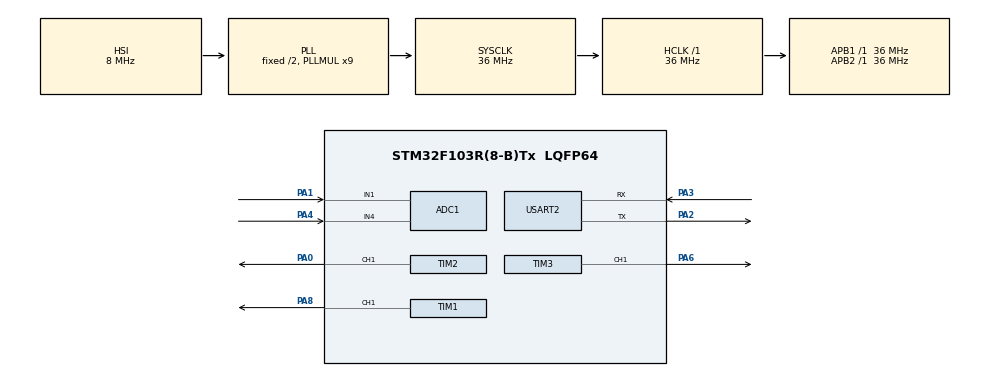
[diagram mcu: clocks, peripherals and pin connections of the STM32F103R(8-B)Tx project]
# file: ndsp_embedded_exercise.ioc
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ADC1.Channel-2\#ChannelRegularConversion=ADC_CHANNEL_1
ADC1.Channel-3\#ChannelRegularConversion=ADC_CHANNEL_4
ADC1.ContinuousConvMode=ENABLE
ADC1.NbrOfConversion=2
ADC1.NbrOfConversionFlag=1
ADC1.Rank-2\#ChannelRegularConversion=1
ADC1.Rank-3\#ChannelRegularConversion=2
ADC1.SamplingTime-2\#ChannelRegularConversion=ADC_SAMPLETIME_239CYCLES_5
ADC1.SamplingTime-3\#ChannelRegularConversion=ADC_SAMPLETIME_239CYCLES_5
ADC1.master=1
Dma.ADC1.0.Direction=DMA_PERIPH_TO_MEMORY
Dma.ADC1.0.Instance=DMA1_Channel1
Dma.ADC1.0.MemDataAlignment=DMA_MDATAALIGN_HALFWORD
Dma.ADC1.0.MemInc=DMA_MINC_ENABLE
Dma.ADC1.0.Mode=DMA_CIRCULAR
Dma.ADC1.0.PeriphDataAlignment=DMA_PDATAALIGN_HALFWORD
Dma.ADC1.0.PeriphInc=DMA_PINC_DISABLE
Dma.ADC1.0.Priority=DMA_PRIORITY_LOW
Dma.Request0=ADC1
Mcu.Family=STM32F1
Mcu.Name=STM32F103R(8-B)Tx
Mcu.Package=LQFP64
NVIC.ADC1_2_IRQn=true\:0\:0\:false\:false\:true\:true\:true\:true
NVIC.DMA1_Channel1_IRQn=true\:0\:0\:false\:false\:true\:false\:true\:true
NVIC.PriorityGroup=NVIC_PRIORITYGROUP_4
NVIC.TIM1_UP_IRQn=true\:0\:0\:false\:false\:true\:true\:true\:true
NVIC.TIM2_IRQn=true\:1\:0\:true\:false\:true\:true\:true\:true
NVIC.TIM3_IRQn=true\:1\:0\:true\:false\:true\:true\:true\:true
NVIC.USART2_IRQn=true\:0\:0\:false\:false\:true\:true\:true\:true
PA0-WKUP.Signal=S_TIM2_CH1_ETR
PA1.Signal=ADCx_IN1
PA2.Mode=Asynchronous
PA2.Signal=USART2_TX
PA3.Mode=Asynchronous
PA3.Signal=USART2_RX
PA4.Signal=ADCx_IN4
PA6.Signal=S_TIM3_CH1
PA8.Signal=S_TIM1_CH1
ProjectManager.HeapSize=0x200
ProjectManager.StackSize=0x400
ProjectManager.TargetToolchain=CMake
RCC.ADCPresc=RCC_ADCPCLK2_DIV8
RCC.AHBFreq_Value=36000000
RCC.APB1Freq_Value=36000000
RCC.APB1TimFreq_Value=36000000
RCC.APB2Freq_Value=36000000
RCC.APB2TimFreq_Value=36000000
RCC.HCLKFreq_Value=36000000
RCC.PLLMUL=RCC_PLL_MUL9
RCC.SYSCLKFreq_VALUE=36000000
RCC.SYSCLKSource=RCC_SYSCLKSOURCE_PLLCLK
RCC.USBFreq_Value=36000000
SH.ADCx_IN1.0=ADC1_IN1,IN1
SH.ADCx_IN4.0=ADC1_IN4,IN4
SH.S_TIM1_CH1.0=TIM1_CH1,Output Compare1 CH1
SH.S_TIM2_CH1_ETR.0=TIM2_CH1,PWM Generation1 CH1
SH.S_TIM3_CH1.0=TIM3_CH1,PWM Generation1 CH1
TIM1.Channel-Output\ Compare1\ CH1=TIM_CHANNEL_1
TIM1.Period=3599
TIM1.Prescaler=9999
TIM2.AutoReloadPreload=TIM_AUTORELOAD_PRELOAD_ENABLE
TIM2.Channel-PWM\ Generation1\ CH1=TIM_CHANNEL_1
TIM2.Period=6399
TIM2.Prescaler=9999
TIM2.Pulse-PWM\ Generation1\ CH1=3199
TIM3.AutoReloadPreload=TIM_AUTORELOAD_PRELOAD_ENABLE
TIM3.Channel-PWM\ Generation1\ CH1=TIM_CHANNEL_1
TIM3.Period=6399
TIM3.Prescaler=9999
TIM3.Pulse-PWM\ Generation1\ CH1=3199
USART2.VirtualMode=VM_ASYNC
VP_SYS_VS_ND.Mode=No_Debug
VP_TIM1_VS_ClockSourceINT.Mode=Internal
VP_TIM2_VS_ClockSourceINT.Mode=Internal
VP_TIM3_VS_ClockSourceINT.Mode=Internal
board=custom

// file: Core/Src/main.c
/* USER CODE BEGIN Header */
/**
  ******************************************************************************
  * @file           : main.c
  * @brief          : Main program body
  ******************************************************************************
  * @attention
  *
  * Copyright (c) 2025 STMicroelectronics.
  * All rights reserved.
  *
  * This software is licensed under terms that can be found in the LICENSE file
  * in the root directory of this software component.
  * If no LICENSE file comes with this software, it is provided AS-IS.
  *
  ******************************************************************************
  */
/* USER CODE END Header */
#include "main.h"

/* USER CODE BEGIN Includes */
#include <stdbool.h>
#include <string.h>
#include <stdio.h>
/* USER CODE END Includes */

/* USER CODE BEGIN PD */
#define RX_SINGLE_RECEIVE_BUFFER_SIZE 256
#define RX_BUFFER_SIZE 256
#define ADC_BUF_LEN 2
#define ADC_FILTER_COEFFICIENT 0.999f  // ADC filter coefficient

/* USER CODE END PD */

ADC_HandleTypeDef hadc1;
DMA_HandleTypeDef hdma_adc1;

TIM_HandleTypeDef htim1;
TIM_HandleTypeDef htim2;
TIM_HandleTypeDef htim3;

UART_HandleTypeDef huart2;

void SystemClock_Config(void);
static void MX_GPIO_Init(void);
static void MX_DMA_Init(void);
static void MX_USART2_UART_Init(void);
static void MX_TIM2_Init(void);
static void MX_TIM3_Init(void);
static void MX_ADC1_Init(void);
static void MX_TIM1_Init(void);
/* USER CODE BEGIN PFP */
void process_command(void);
void send_ok(void);
void send_error(void);

/* USER CODE END PFP */

/* USER CODE BEGIN 0 */

bool rx_transfer_complete;
uint8_t rx_data[RX_SINGLE_RECEIVE_BUFFER_SIZE];
uint8_t rx_buffer[RX_BUFFER_SIZE];
uint16_t adc_buffer_raw[ADC_BUF_LEN];
float adc_buffer_smooth[ADC_BUF_LEN];

bool temperature_on = false;
bool voltage_on = false;
float temperature_threshold = 73.00f;
float voltage_threshold = 8.35f;

/* USER CODE END 0 */

int main(void)
{

  /* MCU Configuration--------------------------------------------------------*/

  /* Reset of all peripherals, Initializes the Flash interface and the Systick. */
  HAL_Init();

  /* Configure the system clock */
  SystemClock_Config();

  /* Initialize all configured peripherals */
  MX_GPIO_Init();
  MX_DMA_Init();
  MX_USART2_UART_Init();
  MX_TIM2_Init();
  MX_TIM3_Init();
  MX_ADC1_Init();
  MX_TIM1_Init();
  /* USER CODE BEGIN 2 */
  HAL_UART_Receive_IT(&huart2, rx_data, 1);

  HAL_TIM_Base_Start_IT(&htim1);  // Start Timer 1 in interrupt mode
  HAL_TIM_Base_Start_IT(&htim2);  // Start Timer 2 in interrupt mode
  HAL_TIM_Base_Start_IT(&htim3);  // Start Timer 3 in interrupt mode
  HAL_TIM_PWM_Start(&htim2, TIM_CHANNEL_1);
  HAL_TIM_PWM_Start(&htim3, TIM_CHANNEL_1);

  adc_buffer_smooth[ADC_CHANNEL_1] = 0.00f;
  adc_buffer_smooth[ADC_CHANNEL_4] = 0.00f;
  HAL_ADC_Start_DMA(&hadc1, (uint32_t*)adc_buffer_raw, ADC_BUF_LEN);

  /* USER CODE END 2 */

  /* Infinite loop */
  while (1)
  {

  }
}

void SystemClock_Config(void)
{
  RCC_OscInitTypeDef RCC_OscInitStruct = {0};
  RCC_ClkInitTypeDef RCC_ClkInitStruct = {0};
  RCC_PeriphCLKInitTypeDef PeriphClkInit = {0};

  /** Initializes the RCC Oscillators according to the specified parameters
  * in the RCC_OscInitTypeDef structure.
  */
  RCC_OscInitStruct.OscillatorType = RCC_OSCILLATORTYPE_HSI;
  RCC_OscInitStruct.HSIState = RCC_HSI_ON;
  RCC_OscInitStruct.HSICalibrationValue = RCC_HSICALIBRATION_DEFAULT;
  RCC_OscInitStruct.PLL.PLLState = RCC_PLL_ON;
  RCC_OscInitStruct.PLL.PLLSource = RCC_PLLSOURCE_HSI_DIV2;
  RCC_OscInitStruct.PLL.PLLMUL = RCC_PLL_MUL9;
  if (HAL_RCC_OscConfig(&RCC_OscInitStruct) != HAL_OK)
  {
    Error_Handler();
  }

  /** Initializes the CPU, AHB and APB buses clocks
  */
  RCC_ClkInitStruct.ClockType = RCC_CLOCKTYPE_HCLK|RCC_CLOCKTYPE_SYSCLK
                              |RCC_CLOCKTYPE_PCLK1|RCC_CLOCKTYPE_PCLK2;
  RCC_ClkInitStruct.SYSCLKSource = RCC_SYSCLKSOURCE_PLLCLK;
  RCC_ClkInitStruct.AHBCLKDivider = RCC_SYSCLK_DIV1;
  RCC_ClkInitStruct.APB1CLKDivider = RCC_HCLK_DIV1;
  RCC_ClkInitStruct.APB2CLKDivider = RCC_HCLK_DIV1;

  if (HAL_RCC_ClockConfig(&RCC_ClkInitStruct, FLASH_LATENCY_1) != HAL_OK)
  {
    Error_Handler();
  }
  PeriphClkInit.PeriphClockSelection = RCC_PERIPHCLK_ADC;
  PeriphClkInit.AdcClockSelection = RCC_ADCPCLK2_DIV8;
  if (HAL_RCCEx_PeriphCLKConfig(&PeriphClkInit) != HAL_OK)
  {
    Error_Handler();
  }
}

static void MX_ADC1_Init(void)
{

  ADC_ChannelConfTypeDef sConfig = {0};

  /** Common config
  */
  hadc1.Instance = ADC1;
  hadc1.Init.ScanConvMode = ADC_SCAN_ENABLE;
  hadc1.Init.ContinuousConvMode = ENABLE;
  hadc1.Init.DiscontinuousConvMode = DISABLE;
  hadc1.Init.ExternalTrigConv = ADC_SOFTWARE_START;
  hadc1.Init.DataAlign = ADC_DATAALIGN_RIGHT;
  hadc1.Init.NbrOfConversion = 2;
  if (HAL_ADC_Init(&hadc1) != HAL_OK)
  {
    Error_Handler();
  }

  /** Configure Regular Channel
  */
  sConfig.Channel = ADC_CHANNEL_1;
  sConfig.Rank = ADC_REGULAR_RANK_1;
  sConfig.SamplingTime = ADC_SAMPLETIME_239CYCLES_5;
  if (HAL_ADC_ConfigChannel(&hadc1, &sConfig) != HAL_OK)
  {
    Error_Handler();
  }

  /** Configure Regular Channel
  */
  sConfig.Channel = ADC_CHANNEL_4;
  sConfig.Rank = ADC_REGULAR_RANK_2;
  if (HAL_ADC_ConfigChannel(&hadc1, &sConfig) != HAL_OK)
  {
    Error_Handler();
  }

}

static void MX_TIM1_Init(void)
{

  TIM_ClockConfigTypeDef sClockSourceConfig = {0};
  TIM_MasterConfigTypeDef sMasterConfig = {0};
  TIM_OC_InitTypeDef sConfigOC = {0};
  TIM_BreakDeadTimeConfigTypeDef sBreakDeadTimeConfig = {0};

  htim1.Instance = TIM1;
  htim1.Init.Prescaler = 9999;
  htim1.Init.CounterMode = TIM_COUNTERMODE_UP;
  htim1.Init.Period = 3599;
  htim1.Init.ClockDivision = TIM_CLOCKDIVISION_DIV1;
  htim1.Init.RepetitionCounter = 0;
  htim1.Init.AutoReloadPreload = TIM_AUTORELOAD_PRELOAD_DISABLE;
  if (HAL_TIM_Base_Init(&htim1) != HAL_OK)
  {
    Error_Handler();
  }
  sClockSourceConfig.ClockSource = TIM_CLOCKSOURCE_INTERNAL;
  if (HAL_TIM_ConfigClockSource(&htim1, &sClockSourceConfig) != HAL_OK)
  {
    Error_Handler();
  }
  if (HAL_TIM_OC_Init(&htim1) != HAL_OK)
  {
    Error_Handler();
  }
  sMasterConfig.MasterOutputTrigger = TIM_TRGO_RESET;
  sMasterConfig.MasterSlaveMode = TIM_MASTERSLAVEMODE_DISABLE;
  if (HAL_TIMEx_MasterConfigSynchronization(&htim1, &sMasterConfig) != HAL_OK)
  {
    Error_Handler();
  }
  sConfigOC.OCMode = TIM_OCMODE_TIMING;
  sConfigOC.Pulse = 0;
  sConfigOC.OCPolarity = TIM_OCPOLARITY_HIGH;
  sConfigOC.OCNPolarity = TIM_OCNPOLARITY_HIGH;
  sConfigOC.OCFastMode = TIM_OCFAST_DISABLE;
  sConfigOC.OCIdleState = TIM_OCIDLESTATE_RESET;
  sConfigOC.OCNIdleState = TIM_OCNIDLESTATE_RESET;
  if (HAL_TIM_OC_ConfigChannel(&htim1, &sConfigOC, TIM_CHANNEL_1) != HAL_OK)
  {
    Error_Handler();
  }
  sBreakDeadTimeConfig.OffStateRunMode = TIM_OSSR_DISABLE;
  sBreakDeadTimeConfig.OffStateIDLEMode = TIM_OSSI_DISABLE;
  sBreakDeadTimeConfig.LockLevel = TIM_LOCKLEVEL_OFF;
  sBreakDeadTimeConfig.DeadTime = 0;
  sBreakDeadTimeConfig.BreakState = TIM_BREAK_DISABLE;
  sBreakDeadTimeConfig.BreakPolarity = TIM_BREAKPOLARITY_HIGH;
  sBreakDeadTimeConfig.AutomaticOutput = TIM_AUTOMATICOUTPUT_DISABLE;
  if (HAL_TIMEx_ConfigBreakDeadTime(&htim1, &sBreakDeadTimeConfig) != HAL_OK)
  {
    Error_Handler();
  }
  HAL_TIM_MspPostInit(&htim1);

}

static void MX_TIM2_Init(void)
{

  TIM_ClockConfigTypeDef sClockSourceConfig = {0};
  TIM_MasterConfigTypeDef sMasterConfig = {0};
  TIM_OC_InitTypeDef sConfigOC = {0};

  htim2.Instance = TIM2;
  htim2.Init.Prescaler = 183;
  htim2.Init.CounterMode = TIM_COUNTERMODE_UP;
  htim2.Init.Period = 999;
  htim2.Init.ClockDivision = TIM_CLOCKDIVISION_DIV1;
  htim2.Init.AutoReloadPreload = TIM_AUTORELOAD_PRELOAD_ENABLE;
  if (HAL_TIM_Base_Init(&htim2) != HAL_OK)
  {
    Error_Handler();
  }
  sClockSourceConfig.ClockSource = TIM_CLOCKSOURCE_INTERNAL;
  if (HAL_TIM_ConfigClockSource(&htim2, &sClockSourceConfig) != HAL_OK)
  {
    Error_Handler();
  }
  if (HAL_TIM_PWM_Init(&htim2) != HAL_OK)
  {
    Error_Handler();
  }
  sMasterConfig.MasterOutputTrigger = TIM_TRGO_RESET;
  sMasterConfig.MasterSlaveMode = TIM_MASTERSLAVEMODE_DISABLE;
  if (HAL_TIMEx_MasterConfigSynchronization(&htim2, &sMasterConfig) != HAL_OK)
  {
    Error_Handler();
  }
  sConfigOC.OCMode = TIM_OCMODE_PWM1;
  sConfigOC.Pulse = 0;
  sConfigOC.OCPolarity = TIM_OCPOLARITY_HIGH;
  sConfigOC.OCFastMode = TIM_OCFAST_DISABLE;
  if (HAL_TIM_PWM_ConfigChannel(&htim2, &sConfigOC, TIM_CHANNEL_1) != HAL_OK)
  {
    Error_Handler();
  }
  HAL_TIM_MspPostInit(&htim2);

}

static void MX_TIM3_Init(void)
{

  TIM_ClockConfigTypeDef sClockSourceConfig = {0};
  TIM_MasterConfigTypeDef sMasterConfig = {0};
  TIM_OC_InitTypeDef sConfigOC = {0};

  htim3.Instance = TIM3;
  htim3.Init.Prescaler = 389;
  htim3.Init.CounterMode = TIM_COUNTERMODE_UP;
  htim3.Init.Period = 999;
  htim3.Init.ClockDivision = TIM_CLOCKDIVISION_DIV1;
  htim3.Init.AutoReloadPreload = TIM_AUTORELOAD_PRELOAD_ENABLE;
  if (HAL_TIM_Base_Init(&htim3) != HAL_OK)
  {
    Error_Handler();
  }
  sClockSourceConfig.ClockSource = TIM_CLOCKSOURCE_INTERNAL;
  if (HAL_TIM_ConfigClockSource(&htim3, &sClockSourceConfig) != HAL_OK)
  {
    Error_Handler();
  }
  if (HAL_TIM_PWM_Init(&htim3) != HAL_OK)
  {
    Error_Handler();
  }
  sMasterConfig.MasterOutputTrigger = TIM_TRGO_RESET;
  sMasterConfig.MasterSlaveMode = TIM_MASTERSLAVEMODE_DISABLE;
  if (HAL_TIMEx_MasterConfigSynchronization(&htim3, &sMasterConfig) != HAL_OK)
  {
    Error_Handler();
  }
  sConfigOC.OCMode = TIM_OCMODE_PWM1;
  sConfigOC.Pulse = 3199;
  sConfigOC.OCPolarity = TIM_OCPOLARITY_HIGH;
  sConfigOC.OCFastMode = TIM_OCFAST_DISABLE;
  if (HAL_TIM_PWM_ConfigChannel(&htim3, &sConfigOC, TIM_CHANNEL_1) != HAL_OK)
  {
    Error_Handler();
  }
  HAL_TIM_MspPostInit(&htim3);

}

static void MX_USART2_UART_Init(void)
{

  huart2.Instance = USART2;
  huart2.Init.BaudRate = 115200;
  huart2.Init.WordLength = UART_WORDLENGTH_8B;
  huart2.Init.StopBits = UART_STOPBITS_1;
  huart2.Init.Parity = UART_PARITY_NONE;
  huart2.Init.Mode = UART_MODE_TX_RX;
  huart2.Init.HwFlowCtl = UART_HWCONTROL_NONE;
  huart2.Init.OverSampling = UART_OVERSAMPLING_16;
  if (HAL_UART_Init(&huart2) != HAL_OK)
  {
    Error_Handler();
  }

}

static void MX_DMA_Init(void)
{

  /* DMA controller clock enable */
  __HAL_RCC_DMA1_CLK_ENABLE();

  /* DMA interrupt init */
  /* DMA1_Channel1_IRQn interrupt configuration */
  HAL_NVIC_SetPriority(DMA1_Channel1_IRQn, 0, 0);
  HAL_NVIC_EnableIRQ(DMA1_Channel1_IRQn);

}

static void MX_GPIO_Init(void)
{

  /* GPIO Ports Clock Enable */
  __HAL_RCC_GPIOA_CLK_ENABLE();

}

/* USER CODE BEGIN 4 */

void HAL_UART_RxCpltCallback(UART_HandleTypeDef *huart) {
  static uint32_t rx_idx;
  if (huart->Instance == USART2) {
    for (uint32_t i = 0; i < RX_BUFFER_SIZE && rx_data[i] != '\0'; i++) {
        if ((rx_data[i] != '\r') && (rx_data[i] != '\n') && (rx_idx < (RX_BUFFER_SIZE - 1))) {
            // Add byte to the buffer if it's not a carriage return or newline
            rx_buffer[rx_idx++] = rx_data[i];

        } else {
            // End of command, null-terminate the string
            rx_buffer[rx_idx] = '\0';
            rx_transfer_complete = true;

            // Send CRLF after processing
            HAL_UART_Transmit(&huart2, (uint8_t*)"\r\n", 2, 10);

            // Reset index for next reception
            rx_idx = 0;

            // Process the received command
            process_command();

            break; // Exit the loop once command is processed
        }
    }

    // Restart reception for the next byte
    HAL_UART_Receive_IT(&huart2, rx_data, 1);
  }
}

void process_command(void) {
    // Process the command stored in rx_buffer
              printf("Hello, World!\n");
    if (rx_transfer_complete) {
        rx_transfer_complete = false; // Reset transfer complete flag

        if (strcmp((char*)rx_buffer, "TEMPERATURE_ON") == 0) {
            temperature_on = true;
            send_ok();
        } else if (strcmp((char*)rx_buffer, "TEMPERATURE_OFF") == 0) {
            temperature_on = false;
            send_ok();
        } else if (strncmp((char*)rx_buffer, "TEMPERATURE_SET_THRESHOLD=", 26) == 0) {
          uint32_t temperature_threshold_milli_degree;

          if (sscanf((char*)rx_buffer + strlen("TEMPERATURE_SET_THRESHOLD="), "%lud", &temperature_threshold_milli_degree) == 1) {
            temperature_threshold = (float)temperature_threshold_milli_degree / 1000;
            send_ok();
          } else {
              // Handle error in parsing
              send_error();
          }

        } else if (strcmp((char*)rx_buffer, "VOLTAGE_ON") == 0) {
            voltage_on = true;
            send_ok();

        } else if (strcmp((char*)rx_buffer, "VOLTAGE_OFF") == 0) {
            voltage_on = false;
            send_ok();

        } else if (strncmp((char*)rx_buffer, "VOLTAGE_SET_THRESHOLD=", 22) == 0) {
          uint32_t voltage_threshold_mv;

          if (sscanf((char*)rx_buffer + strlen("VOLTAGE_SET_THRESHOLD="), "%lu", &voltage_threshold_mv) == 1) {
            voltage_threshold = (float)voltage_threshold_mv / 1000;
            send_ok();

          } else {
              // Handle error in parsing
              send_error();
          }

        } else {
            send_error();
        }
    }
}

void send_ok(void) {
  HAL_UART_Transmit(&huart2, (uint8_t*)"CMD_OK\r\n", 8, HAL_MAX_DELAY);
}

void send_error(void) {
  HAL_UART_Transmit(&huart2, (uint8_t*)"CMD_ERROR\r\n", 11, HAL_MAX_DELAY);
}

void HAL_TIM_PeriodElapsedCallback(TIM_HandleTypeDef *htim)
{
    if (htim->Instance == TIM1) {
      char temperature_status[32];
      char msg_temperature[128];

      char voltage_status[32];
      char msg_voltage[128];

      if ((temperature_on) || (voltage_on)) {
        if (temperature_on) {
          if (adc_buffer_smooth[0] >= temperature_threshold) {
            strcpy(temperature_status, "ALERT");
          } else {
            strcpy(temperature_status, "OK");
          }
          snprintf(msg_temperature, sizeof(msg_temperature), "temperature_measured = %.2f; temperature_threshold = %.2f; temperature_status = %s; ", adc_buffer_smooth[0], temperature_threshold, temperature_status);
        } else {
          memset(msg_temperature, 0, sizeof(msg_temperature));
        }

        if (voltage_on) {
          if (adc_buffer_smooth[1] >= voltage_threshold) {
            strcpy(voltage_status, "ALERT");
          } else {
            strcpy(voltage_status, "OK");
          }
          snprintf(msg_voltage, sizeof(msg_voltage), "voltage_measured = %.2f; voltage_threshold = %.2f; voltage_status = %s; ", adc_buffer_smooth[1], voltage_threshold, voltage_status);
        } else {
          memset(msg_voltage, 0, sizeof(msg_voltage));
        }

        // Concatenate the two messages
        char final_msg[256];
        int len = snprintf(final_msg, sizeof(final_msg), "%s%s\r\n", msg_temperature, msg_voltage);

        HAL_UART_Transmit(&huart2, (uint8_t*)final_msg, len, HAL_MAX_DELAY);
      }

    }

    static uint16_t step_tim2 = 1;
    static uint16_t duty_tim2 = 0;
    if (htim->Instance == TIM2) {
        duty_tim2 += step_tim2;
        if (duty_tim2 >= 1000 || duty_tim2 <= 0) {
          step_tim2 = -step_tim2;
        }
        __HAL_TIM_SET_COMPARE(&htim2, TIM_CHANNEL_1, duty_tim2);
    }

    static uint16_t duty_tim3 = 0;
    if (htim->Instance == TIM3) {
        if (duty_tim3 >= 1000) {
          duty_tim3 = 0;
        }
        __HAL_TIM_SET_COMPARE(&htim3, TIM_CHANNEL_1, duty_tim3++);
    }

}

void HAL_ADC_ConvCpltCallback(ADC_HandleTypeDef* hadc) {
  UNUSED(hadc);
  // Scale rawTemperature from 0 to 100 Celsius degrees
  float rawTemperature = (float)adc_buffer_raw[0];
  rawTemperature = rawTemperature * 100 / 4095;
  adc_buffer_smooth[0] = ((1.00f - ADC_FILTER_COEFFICIENT) * adc_buffer_smooth[0]) + (ADC_FILTER_COEFFICIENT * rawTemperature);

  // Scale rawVoltage from 0 to 9 Volts
  float rawVoltage = (float)adc_buffer_raw[1];
  rawVoltage = rawVoltage * 9 / 4095;
  adc_buffer_smooth[1] = ((1.00f - ADC_FILTER_COEFFICIENT) * adc_buffer_smooth[1]) + (ADC_FILTER_COEFFICIENT * rawVoltage);

}

/* USER CODE END 4 */

void Error_Handler(void)
{
  __disable_irq();
  while (1)
  {
  }
}
